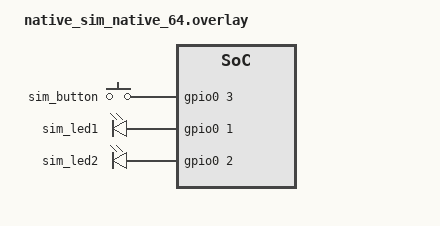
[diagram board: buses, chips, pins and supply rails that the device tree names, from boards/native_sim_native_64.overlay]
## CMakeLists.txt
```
cmake_minimum_required(VERSION 3.24)
cmake_policy(SET CMP0135 NEW) # Use extraction-time timestamps so dependency updates trigger rebuilds.

set(CMAKE_EXPORT_COMPILE_COMMANDS ON)
set(BOARD nucleo_h723zg) # default board
set(UA_LOGLEVEL 400 CACHE STRING "open62541 minimum log level (400=WARNING)") # supress some of build log

# Pull in the sibling helium-lib as an out-of-tree Zephyr module
list(APPEND ZEPHYR_EXTRA_MODULES ${CMAKE_CURRENT_SOURCE_DIR}/../helium-lib)

include(FetchContent) # Populate sources before Zephyr discovers modules and their Kconfig options.
FetchContent_Declare(open62541
    URL https://codeload.github.com/open62541/open62541/tar.gz/47e704dcecf2505da263b02ebaaaf1d91ec6aae0
    URL_HASH SHA256=fe38fa4c1d7378dda6d46d1b2292ad568bc7d760298435a0846c596156725ab4
    SOURCE_SUBDIR arch/zephyr # Skip the root CMake project; Zephyr builds the library as a module.
)
FetchContent_MakeAvailable(open62541)

list(APPEND EXTRA_ZEPHYR_MODULES "${open62541_SOURCE_DIR}/arch")
find_package(Zephyr REQUIRED HINTS $ENV{ZEPHYR_BASE})
project(osprey-app)

target_compile_definitions_ifdef(CONFIG_NATIVE_LIBC open62541-plugins PRIVATE
    eventfd=zvfs_eventfd
    eventfd_write=zvfs_eventfd_write
) # Replace eventfds with zsock_select() for native_sim

target_sources_ifdef(CONFIG_NET_SOCKETS_OFFLOAD app PRIVATE
    "${ZEPHYR_BASE}/subsys/net/lib/sockets/getnameinfo.c"
) # Get getnameinfo.c because Zephyr omits it but open62541 needs it

file(GLOB app_sources src/*.c)
target_sources(app PRIVATE ${app_sources})
target_link_libraries(app PRIVATE open62541)
```

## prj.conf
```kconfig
# Networking and platform APIs required by open62541's Zephyr backend.
CONFIG_NETWORKING=y
CONFIG_NET_SOCKETS=y
CONFIG_NET_IPV4=y
CONFIG_NET_TCP=y
CONFIG_ENTROPY_GENERATOR=y
CONFIG_PICOLIBC=y
CONFIG_POSIX_SYSTEM_INTERFACES=y
CONFIG_POSIX_DEVICE_IO=y
CONFIG_XSI_SINGLE_PROCESS=y
CONFIG_NET_HOSTNAME_ENABLE=y
CONFIG_NET_INTERFACE_NAME=y
CONFIG_EVENTFD=y
CONFIG_LOG=y
CONFIG_GPIO=y

# Server startup needs more than Zephyr's default 1 KiB main stack.
CONFIG_MAIN_STACK_SIZE=4096
# open62541 uses the kernel heap; match the upstream Zephyr example's budget. Feel free to increase this in the future.
CONFIG_HEAP_MEM_POOL_SIZE=200000
# select() needs the wakeup eventfd, listening socket, and six client sockets.
CONFIG_ZVFS_POLL_MAX=8
# Six clients plus the listener, with one spare network context for reconnects.
CONFIG_NET_MAX_CONTEXTS=8

# IP config
CONFIG_NET_CONFIG_SETTINGS=y

# Link-local address
CONFIG_NET_CONFIG_MY_IPV4_ADDR="169.254.0.50"

CONFIG_NET_CONFIG_MY_IPV4_NETMASK="255.255.0.0"
CONFIG_NET_CONFIG_MY_IPV4_GW="0.0.0.0"

# Small server feature set, following the upstream Zephyr server example.
# Pinned open62541 still includes <version.h>; Zephyr 4.5 disables that path.
CONFIG_LEGACY_GENERATED_INCLUDE_PATH=y
CONFIG_OPEN62541=y
CONFIG_OPEN62541_NAMESPACE_ZERO="MINIMAL"
CONFIG_OPEN62541_ENABLE_DISCOVERY_SEMAPHORE=n
CONFIG_OPEN62541_ENABLE_PUBSUB=n
CONFIG_OPEN62541_ENABLE_PUBSUB_INFORMATIONMODEL=n
CONFIG_OPEN62541_ENABLE_SUBSCRIPTIONS_EVENTS=n
CONFIG_OPEN62541_ENABLE_SUBSCRIPTIONS=n
CONFIG_OPEN62541_ENABLE_HISTORIZING=n
CONFIG_OPEN62541_ENABLE_JSON_ENCODING=n
```

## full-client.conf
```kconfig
# Additional configuration for the complete or login-only gRPC client.
CONFIG_DYNAMIC_THREAD_STACK_SIZE=8192
CONFIG_POSIX_THREAD_THREADS_MAX=8
CONFIG_POSIX_THREAD_KEYS_MAX=16
CONFIG_MAX_PTHREAD_MUTEX_COUNT=64
CONFIG_MAX_PTHREAD_COND_COUNT=32
CONFIG_MAIN_STACK_SIZE=16384
CONFIG_HEAP_MEM_POOL_SIZE=65536
CONFIG_COMMON_LIBC_MALLOC_ARENA_SIZE=131072
CONFIG_NETWORKING=y
CONFIG_NET_SOCKETS=y
CONFIG_NET_IPV4=y
CONFIG_NET_IPV6=n
CONFIG_NET_TCP=y
CONFIG_NET_L2_ETHERNET=y
CONFIG_POSIX_NETWORKING=y
CONFIG_NET_CONFIG_SETTINGS=y
CONFIG_NET_CONFIG_AUTO_INIT=y
CONFIG_NET_CONFIG_MY_IPV4_ADDR="192.168.1.50"
CONFIG_NET_CONFIG_MY_IPV4_NETMASK="255.255.255.0"
CONFIG_NET_CONFIG_MY_IPV4_GW="192.168.1.1"
CONFIG_NET_DHCPV4=n
CONFIG_DNS_RESOLVER=y
CONFIG_NET_SOCKETS_POLL_MAX=16
CONFIG_ZVFS_OPEN_MAX=24
CONFIG_EVENTFD=y
CONFIG_ZVFS_EVENTFD_MAX=8
CONFIG_ISR_TABLES_LOCAL_DECLARATION=y
CONFIG_LTO=y
```

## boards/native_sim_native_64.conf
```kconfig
CONFIG_GPIO_EMUL=y

# Expose gmtime_r() in the host libc used by open62541's Zephyr clock backend.
CONFIG_COMPILER_OPT="-D_POSIX_C_SOURCE=200809L"
```

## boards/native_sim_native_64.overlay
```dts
#include <zephyr/dt-bindings/gpio/gpio.h>

/ {
    aliases {
        led1 = &sim_led1;
        led2 = &sim_led2;
        sw0 = &sim_button;
    };

    buttons {
        compatible = "gpio-keys";
        sim_button: button_0 {
            gpios = <&gpio0 3 (GPIO_ACTIVE_HIGH | GPIO_PULL_DOWN)>;
        };
    };
};

&leds {
    sim_led1: led_1 {
        gpios = <&gpio0 1 GPIO_ACTIVE_HIGH>;
    };

    sim_led2: led_2 {
        gpios = <&gpio0 2 GPIO_ACTIVE_HIGH>;
    };
};
```

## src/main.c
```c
#include <zephyr/kernel.h>

#include "server.h"

LOG_MODULE_REGISTER(osprey, LOG_LEVEL_INF);

int main(void) {
    /* Network auto-init configures Ethernet; keep serving if the cable is late. */
    UA_StatusCode status = server_init();
    if (status != UA_STATUSCODE_GOOD) {
        LOG_ERR("OPC UA server failed: %s (0x%08x)", UA_StatusCode_name(status),
                (unsigned int)status);
        return -1;
    }
    return 0;
}
```

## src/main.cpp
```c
#include <zephyr/kernel.h>
#include <zephyr/sys/printk.h>

// This is the real upstream umbrella header, with every client API included.
#include "client/cpp/synnax.h"
#if defined(OSPREY_SYNNAX_AUTH_ONLY)
#include "core/pkg/transport/grpc/auth/auth.grpc.pb.h"
#include "freighter/cpp/grpc/grpc.h"
#endif

static int bring_up() {
    try {
        synnax::Config config;
        config.host = "192.168.1.1";
        config.secure = false;

        // Exercise real protobuf serialization, not just an include-only check.
        grpc::auth::LoginRequest request;
        request.set_username(config.username);
        request.set_password(config.password);
        std::string wire;
        if (!request.SerializeToString(&wire)) return 1;
        grpc::auth::LoginRequest decoded;
        if (!decoded.ParseFromString(wire) || decoded.username() != config.username)
            return 1;

        printk("Osprey: Synnax %s master header and protobuf ready (%u bytes)\n",
               SYNNAX_CLIENT_VERSION, static_cast<unsigned>(wire.size()));
#if defined(OSPREY_SYNNAX_AUTH_ONLY)
        if (config.secure)
            throw std::invalid_argument("TLS is disabled in the Zephyr client build");
        // Construct only the required upstream transport and authentication
        // API. The complete Synnax constructor eagerly instantiates every API.
        auto pool = std::make_shared<freighter::grpc::Pool>();
        auto login = std::make_unique<freighter::grpc::UnaryClient<
            grpc::auth::LoginRequest, grpc::auth::LoginResponse,
            grpc::auth::AuthLoginService>>(pool, config.address());
        synnax::auth::Middleware auth(std::move(login), config.username,
                                      config.password);
        const auto error = auth.authenticate();
        if (error) {
            printk("Synnax login failed: %s\n", error.message().c_str());
            return 1;
        }
        printk("Authenticated directly with Synnax %s.\n",
               auth.cluster_info.node_version.c_str());
#elif defined(OSPREY_SYNNAX_FULL_CLIENT)
        synnax::Synnax client(config);
        const auto error = client.auth->authenticate();
        if (error) {
            printk("Synnax login failed: %s\n", error.message().c_str());
            return 1;
        }
        printk("Connected directly to Synnax.\n");
#else
        printk("Header smoke build: no connection is opened.\n");
#endif
    } catch (const std::exception& error) {
        printk("Synnax bring-up failed: %s\n", error.what());
        return 1;
    }
    return 0;
}

int main() {
    // Zephyr's native main thread has no pthread-specific key storage. Run
    // the client in a real POSIX thread, as required by gRPC and Abseil.
    int result = 1;
    try {
        std::thread client_thread([&result] { result = bring_up(); });
        client_thread.join();
    } catch (const std::exception& error) {
        printk("Could not start Synnax thread: %s\n", error.what());
    }
    return result;
}
```

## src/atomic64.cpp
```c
#include <zephyr/kernel.h>
#include <zephyr/sys/barrier.h>

#include <cstdint>
#include <type_traits>

namespace {

// Cortex-M7 is a single core and has no naturally atomic 64-bit accesses.
// Masking interrupts through the kernel spinlock serializes thread and ISR
// callers; the barriers make the ABI operations sequentially consistent.
struct k_spinlock atomic64_lock{};

uint64_t load_locked(const volatile void* address) {
    return *static_cast<const volatile uint64_t*>(address);
}

void store_locked(volatile void* address, uint64_t value) {
    *static_cast<volatile uint64_t*>(address) = value;
}

enum class Update {
    add,
    sub,
    bit_and,
    bit_or,
    bit_xor,
    bit_nand,
};

uint64_t update_locked(volatile void* address, uint64_t operand, Update op) {
    const uint64_t old_value = load_locked(address);
    uint64_t new_value;
    switch (op) {
        case Update::add:
            new_value = old_value + operand;
            break;
        case Update::sub:
            new_value = old_value - operand;
            break;
        case Update::bit_and:
            new_value = old_value & operand;
            break;
        case Update::bit_or:
            new_value = old_value | operand;
            break;
        case Update::bit_xor:
            new_value = old_value ^ operand;
            break;
        case Update::bit_nand:
            new_value = ~(old_value & operand);
            break;
    }
    store_locked(address, new_value);
    return old_value;
}

template <typename Operation>
auto sequentially_consistent(Operation operation) -> decltype(operation()) {
    const k_spinlock_key_t key = k_spin_lock(&atomic64_lock);
    barrier_dmem_fence_full();
    if constexpr (std::is_void_v<decltype(operation())>) {
        operation();
        barrier_dmem_fence_full();
        k_spin_unlock(&atomic64_lock, key);
    } else {
        auto result = operation();
        barrier_dmem_fence_full();
        k_spin_unlock(&atomic64_lock, key);
        return result;
    }
}

}  // namespace

// GCC's generic atomic ABI passes memory-order values to these helpers.
// Applying sequential consistency for every order is stronger than required
// and keeps the fallback straightforward on this single-core target.
extern "C" {

uint64_t atomic_load_8_abi(const volatile void* address,
                           int) __asm__("__atomic_load_8");
uint64_t atomic_load_8_abi(const volatile void* address, int) {
    return sequentially_consistent([&] { return load_locked(address); });
}

void atomic_store_8_abi(volatile void* address, uint64_t value,
                        int) __asm__("__atomic_store_8");
void atomic_store_8_abi(volatile void* address, uint64_t value, int) {
    sequentially_consistent([&] { store_locked(address, value); });
}

uint64_t atomic_exchange_8_abi(volatile void* address, uint64_t value,
                               int) __asm__("__atomic_exchange_8");
uint64_t atomic_exchange_8_abi(volatile void* address, uint64_t value, int) {
    return sequentially_consistent([&] {
        const uint64_t old_value = load_locked(address);
        store_locked(address, value);
        return old_value;
    });
}

// The GCC frontend builtin takes a weak argument, but its size-specific
// libatomic ABI helper omits it. A private C identifier plus asm label avoids
// colliding with GCC's six-argument builtin declaration.
bool compare_exchange_8_abi(volatile void* address, void* expected, uint64_t desired,
                            int, int) __asm__("__atomic_compare_exchange_8");

bool compare_exchange_8_abi(volatile void* address, void* expected, uint64_t desired,
                            int, int) {
    return sequentially_consistent([&] {
        const uint64_t old_value = load_locked(address);
        auto* expected_value = static_cast<uint64_t*>(expected);
        if (old_value == *expected_value) {
            store_locked(address, desired);
            return true;
        }
        *expected_value = old_value;
        return false;
    });
}

uint64_t atomic_fetch_add_8_abi(volatile void* address, uint64_t value,
                                int) __asm__("__atomic_fetch_add_8");
uint64_t atomic_fetch_add_8_abi(volatile void* address, uint64_t value, int) {
    return sequentially_consistent(
        [&] { return update_locked(address, value, Update::add); });
}

uint64_t atomic_add_fetch_8_abi(volatile void* address, uint64_t value,
                                int) __asm__("__atomic_add_fetch_8");
uint64_t atomic_add_fetch_8_abi(volatile void* address, uint64_t value, int) {
    return sequentially_consistent(
        [&] { return update_locked(address, value, Update::add) + value; });
}

uint64_t atomic_fetch_sub_8_abi(volatile void* address, uint64_t value,
                                int) __asm__("__atomic_fetch_sub_8");
uint64_t atomic_fetch_sub_8_abi(volatile void* address, uint64_t value, int) {
    return sequentially_consistent(
        [&] { return update_locked(address, value, Update::sub); });
}

uint64_t atomic_sub_fetch_8_abi(volatile void* address, uint64_t value,
                                int) __asm__("__atomic_sub_fetch_8");
uint64_t atomic_sub_fetch_8_abi(volatile void* address, uint64_t value, int) {
    return sequentially_consistent(
        [&] { return update_locked(address, value, Update::sub) - value; });
}

uint64_t atomic_fetch_and_8_abi(volatile void* address, uint64_t value,
                                int) __asm__("__atomic_fetch_and_8");
uint64_t atomic_fetch_and_8_abi(volatile void* address, uint64_t value, int) {
    return sequentially_consistent(
        [&] { return update_locked(address, value, Update::bit_and); });
}

uint64_t atomic_and_fetch_8_abi(volatile void* address, uint64_t value,
                                int) __asm__("__atomic_and_fetch_8");
uint64_t atomic_and_fetch_8_abi(volatile void* address, uint64_t value, int) {
    return sequentially_consistent(
        [&] { return update_locked(address, value, Update::bit_and) & value; });
}

uint64_t atomic_fetch_or_8_abi(volatile void* address, uint64_t value,
                               int) __asm__("__atomic_fetch_or_8");
uint64_t atomic_fetch_or_8_abi(volatile void* address, uint64_t value, int) {
    return sequentially_consistent(
        [&] { return update_locked(address, value, Update::bit_or); });
}

uint64_t atomic_or_fetch_8_abi(volatile void* address, uint64_t value,
                               int) __asm__("__atomic_or_fetch_8");
uint64_t atomic_or_fetch_8_abi(volatile void* address, uint64_t value, int) {
    return sequentially_consistent(
        [&] { return update_locked(address, value, Update::bit_or) | value; });
}

uint64_t atomic_fetch_xor_8_abi(volatile void* address, uint64_t value,
                                int) __asm__("__atomic_fetch_xor_8");
uint64_t atomic_fetch_xor_8_abi(volatile void* address, uint64_t value, int) {
    return sequentially_consistent(
        [&] { return update_locked(address, value, Update::bit_xor); });
}

uint64_t atomic_xor_fetch_8_abi(volatile void* address, uint64_t value,
                                int) __asm__("__atomic_xor_fetch_8");
uint64_t atomic_xor_fetch_8_abi(volatile void* address, uint64_t value, int) {
    return sequentially_consistent(
        [&] { return update_locked(address, value, Update::bit_xor) ^ value; });
}

uint64_t atomic_fetch_nand_8_abi(volatile void* address, uint64_t value,
                                 int) __asm__("__atomic_fetch_nand_8");
uint64_t atomic_fetch_nand_8_abi(volatile void* address, uint64_t value, int) {
    return sequentially_consistent(
        [&] { return update_locked(address, value, Update::bit_nand); });
}

uint64_t atomic_nand_fetch_8_abi(volatile void* address, uint64_t value,
                                 int) __asm__("__atomic_nand_fetch_8");
uint64_t atomic_nand_fetch_8_abi(volatile void* address, uint64_t value, int) {
    return sequentially_consistent(
        [&] { return ~(update_locked(address, value, Update::bit_nand) & value); });
}

}  // extern "C"
```

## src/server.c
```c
#include "server.h"

#include <open62541/plugin/eventloop.h>
#include <zephyr/drivers/gpio.h>
#include <zephyr/kernel.h>

LOG_MODULE_REGISTER(opcua, LOG_LEVEL_INF);

struct led_channel {
    struct gpio_dt_spec gpio;
    char* name;
};

static struct led_channel leds[] = {
    {GPIO_DT_SPEC_GET(DT_ALIAS(led0), gpios), "led.green"},
    {GPIO_DT_SPEC_GET(DT_ALIAS(led1), gpios), "led.yellow"},
    {GPIO_DT_SPEC_GET(DT_ALIAS(led2), gpios), "led.red"},
};
static const struct gpio_dt_spec button = GPIO_DT_SPEC_GET(DT_ALIAS(sw0), gpios);
static UA_Boolean button_toggle;
static int button_candidate;
static int button_stable;
static int64_t button_changed_at;

/* Supply the EventLoop's monotonic clock in OPC UA's 100 ns units. */
static UA_DateTime monotonic_time(UA_EventLoop* event_loop) {
    return (UA_DateTime)(k_ticks_to_ns_floor64(k_uptime_ticks()) / 100);
}

static UA_StatusCode read_channel(UA_Server* server, const UA_NodeId* session_id,
                                  void* session_context, const UA_NodeId* node_id,
                                  void* node_context, UA_Boolean timestamp,
                                  const UA_NumericRange* range, UA_DataValue* value) {
    if (range != NULL) {
        value->hasStatus = true;
        value->status = UA_STATUSCODE_BADINDEXRANGEINVALID;
        return UA_STATUSCODE_GOOD;
    }

    UA_Boolean state = button_toggle;
    if (node_context != NULL) {
        struct led_channel* led = node_context;
        int level = gpio_pin_get_dt(&led->gpio);
        if (level < 0) {
            value->hasStatus = true;
            value->status = UA_STATUSCODE_BADRESOURCEUNAVAILABLE;
            return UA_STATUSCODE_GOOD;
        }
        state = level != 0;
    }
    UA_StatusCode status =
        UA_Variant_setScalarCopy(&value->value, &state, &UA_TYPES[UA_TYPES_BOOLEAN]);
    if (status != UA_STATUSCODE_GOOD) return status;
    value->hasValue = true;
    if (timestamp) {
        value->hasSourceTimestamp = true;
        value->sourceTimestamp = UA_DateTime_now();
    }
    return UA_STATUSCODE_GOOD;
}

static UA_StatusCode write_led(UA_Server* server, const UA_NodeId* session_id,
                               void* session_context, const UA_NodeId* node_id,
                               void* node_context, const UA_NumericRange* range,
                               const UA_DataValue* value) {
    if (range != NULL) return UA_STATUSCODE_BADINDEXRANGEINVALID;
    if (!value->hasValue ||
        !UA_Variant_hasScalarType(&value->value, &UA_TYPES[UA_TYPES_BOOLEAN])) {
        return UA_STATUSCODE_BADTYPEMISMATCH;
    }
    struct led_channel* led = node_context;
    int err = gpio_pin_set_dt(&led->gpio, *(UA_Boolean*)value->value.data);
    return err == 0 ? UA_STATUSCODE_GOOD : UA_STATUSCODE_BADRESOURCEUNAVAILABLE;
}

/* Run on the server thread: GPIO sampling needs no ISR, workqueue or extra stack. */
static void sample_button(UA_Server* server, void* context) {
    int pressed = gpio_pin_get_dt(&button);
    if (pressed < 0) return;

    int64_t now = k_uptime_get();
    if (pressed != button_candidate) {
        button_candidate = pressed;
        button_changed_at = now;
    } else if (pressed != button_stable && now - button_changed_at >= 30) {
        button_stable = pressed;
        if (pressed) button_toggle = !button_toggle;
    }
}

static UA_StatusCode add_channel(UA_Server* server, char* name,
                                 struct led_channel* led) {
    UA_VariableAttributes attr = UA_VariableAttributes_default;
    attr.displayName = UA_LOCALIZEDTEXT("en-US", name);
    attr.dataType = UA_TYPES[UA_TYPES_BOOLEAN].typeId;
    attr.valueRank = UA_VALUERANK_SCALAR;
    attr.accessLevel = UA_ACCESSLEVELMASK_READ;
    if (led != NULL) attr.accessLevel |= UA_ACCESSLEVELMASK_WRITE;

    UA_CallbackValueSource source = {.read = read_channel,
                                     .write = led != NULL ? write_led : NULL};
    return UA_Server_addCallbackValueSourceVariableNode(
        server, UA_NODEID_STRING(1, name), UA_NODEID_NUMERIC(0, UA_NS0ID_OBJECTSFOLDER),
        UA_NODEID_NUMERIC(0, UA_NS0ID_ORGANIZES), UA_QUALIFIEDNAME(1, name),
        UA_NODEID_NUMERIC(0, UA_NS0ID_BASEDATAVARIABLETYPE), attr, source, led, NULL);
}

static UA_StatusCode add_channels(UA_Server* server) {
    for (size_t i = 0; i < ARRAY_SIZE(leds); ++i) {
        UA_StatusCode status = add_channel(server, leds[i].name, &leds[i]);
        if (status != UA_STATUSCODE_GOOD) return status;
    }
    UA_StatusCode status = add_channel(server, "button.toggle", NULL);
    if (status != UA_STATUSCODE_GOOD) return status;
    return UA_Server_addRepeatedCallback(server, sample_button, NULL, 10, NULL);
}

UA_StatusCode server_init(void) {
    for (size_t i = 0; i < ARRAY_SIZE(leds); ++i) {
        if (!gpio_is_ready_dt(&leds[i].gpio) ||
            gpio_pin_configure_dt(&leds[i].gpio, GPIO_OUTPUT_INACTIVE) != 0) {
            return UA_STATUSCODE_BADRESOURCEUNAVAILABLE;
        }
    }
    if (!gpio_is_ready_dt(&button) || gpio_pin_configure_dt(&button, GPIO_INPUT) != 0) {
        return UA_STATUSCODE_BADRESOURCEUNAVAILABLE;
    }
    int pressed = gpio_pin_get_dt(&button);
    if (pressed < 0) return UA_STATUSCODE_BADRESOURCEUNAVAILABLE;
    button_candidate = button_stable = pressed;
    button_changed_at = k_uptime_get();
    button_toggle = false;

    /* Keep the large configuration off the main thread's stack. */
    static UA_ServerConfig config;
    memset(&config, 0, sizeof(config));
    UA_StatusCode status =
        UA_ServerConfig_setMinimalCustomBuffer(&config, 4840, NULL, 8192, 8192);
    if (status != UA_STATUSCODE_GOOD) {
        UA_ServerConfig_clear(&config);
        return status;
    }
    config.tcpMaxMsgSize = 8192;
    config.tcpMaxChunks = 1;
    /* Allow six independent clients to remain connected together. */
    config.maxSecureChannels = 6;
    config.maxSessions = 6;
    config.maxNodesPerRead = 4;
    config.maxNodesPerWrite = 3;
    // Needed because the default time source uses different units
    config.eventLoop->dateTime_nowMonotonic = monotonic_time;
    UA_Server* server = UA_Server_newWithConfig(&config);
    if (server == NULL) return UA_STATUSCODE_BADOUTOFMEMORY;

    status = add_channels(server);
    if (status == UA_STATUSCODE_GOOD) {
        LOG_INF("OPC UA ready: led.green, led.yellow, led.red, button.toggle (ns=1)");
        volatile UA_Boolean running = true;
        status = UA_Server_run(server, &running);
    }
    UA_Server_delete(server);
    return status;
}
```

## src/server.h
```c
#include <open62541/server.h>
#include <open62541/server_config_default.h>
#include <zephyr/logging/log.h>

UA_StatusCode server_init(void);
```
